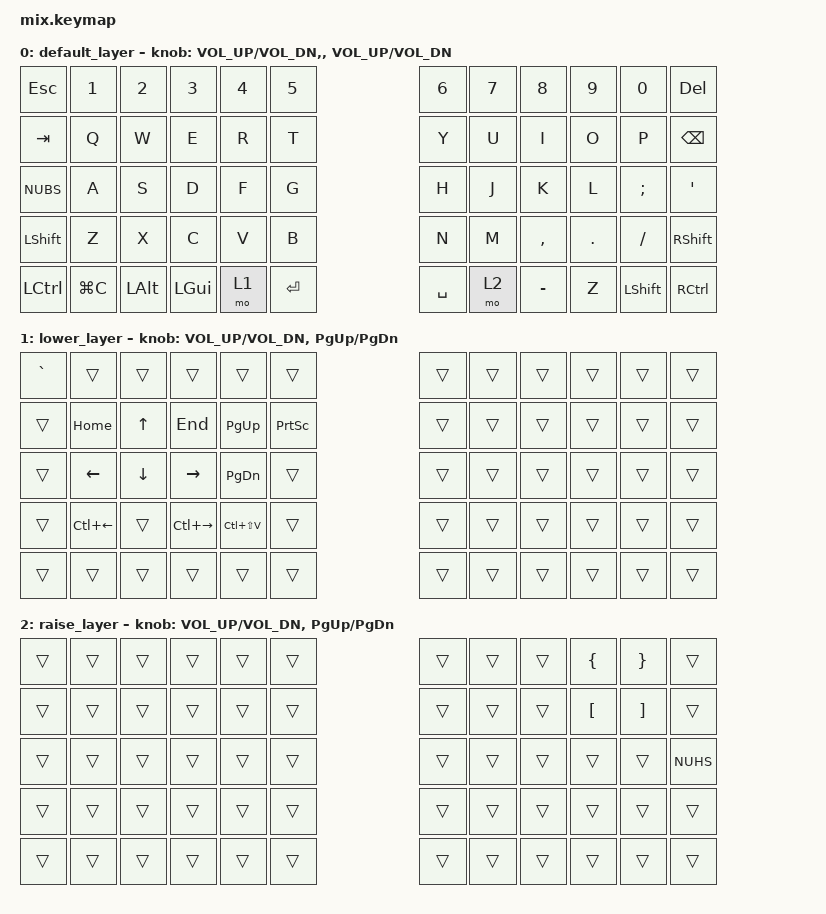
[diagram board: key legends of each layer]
/*
 * Copyright (c) 2020 The ZMK Contributors
 *
 * SPDX-License-Identifier: MIT
 */

#include <behaviors.dtsi>
#include <dt-bindings/zmk/bt.h>
#include <dt-bindings/zmk/keys.h>
#include <dt-bindings/zmk/pointing.h>

#define ZMK_POINTING_DEFAULT_SCRL_VAL 40

/ {
    combos {
        compatible = "zmk,combos";

        boot {
            bindings = <&bootloader>;
            key-positions = <0 11 54 53>;
        };
    };

    behaviors {
        encoder_sc: encoder_sc {
            compatible = "zmk,behavior-sensor-rotate-var";
            label = "ENCODER_SC";
            #sensor-binding-cells = <2>;
            bindings = <&msc>, <&msc>;

            tap-ms = <40>;
        };
    };

/ {
        keymap {
                compatible = "zmk,keymap";

                default_layer {

                        bindings = <
   &kp ESC   &kp N1 &kp N2 &kp N3 &kp N4 &kp N5                       &kp N6 &kp N7 &kp N8    &kp N9   &kp N0   &kp DEL
   &kp TAB   &kp Q  &kp W  &kp E  &kp R  &kp T                        &kp Y  &kp U  &kp I     &kp O    &kp P    &kp BSPC
   &kp NUBS  &kp A  &kp S  &kp D  &kp F  &kp G                        &kp H  &kp J  &kp K     &kp L    &kp SEMI &kp SQT
   &kp LSHFT &kp Z  &kp X  &kp C  &kp V  &kp B                        &kp N  &kp M  &kp COMMA &kp DOT  &kp FSLH &kp RSHFT
   &kp LCTRL &kp LG(C) &kp LALT     &kp LGUI &mo 1 &kp RET       &kp SPACE  &mo 2 &kp MINUS     &kp Z  &kp LSHFT &kp RCTRL
                        >;
                        sensor-bindings = 
                                <&inc_dec_kp C_VOL_UP C_VOL_DN,
                                 &inc_dec_kp C_VOL_UP C_VOL_DN>;
                };
                
                lower_layer {

                        bindings = <
   &kp GRAVE &trans       &trans   &trans        &trans        &trans                       &trans &trans &trans &trans &trans &trans
   &trans    &kp HOME     &kp UP   &kp END       &kp PG_UP     &kp PSCRN                    &trans &trans &trans &trans &trans &trans
   &trans    &kp LEFT     &kp DOWN &kp RIGHT     &kp PG_DN     &trans                       &trans &trans &trans &trans &trans &trans
   &trans    &kp LC(LEFT) &trans   &kp LC(RIGHT) &kp LC(LS(V)) &trans                       &trans &trans &trans &trans &trans &trans
   &trans &trans &trans         &trans &trans &trans                                  &trans &trans &trans &trans &trans &trans
                        >;
                        sensor-bindings = <&inc_dec_kp C_VOL_UP C_VOL_DN &inc_dec_kp PG_UP PG_DN>;
                };

                raise_layer {

                       bindings = <
   &trans &trans &trans &trans &trans &trans                       &trans &trans &trans &kp LBRC &kp RBRC &trans
   &trans &trans &trans &trans &trans &trans                       &trans &trans &trans &kp LBKT &kp RBKT &trans
   &trans &trans &trans &trans &trans &trans                       &trans &trans &trans &trans &trans &kp NUHS
   &trans &trans &trans &trans &trans &trans                       &trans &trans &trans &trans &trans &trans
   &trans &trans &trans &trans &trans &trans                       &trans &trans &trans &trans &trans &trans
                        >;
                        sensor-bindings = <&inc_dec_kp C_VOL_UP C_VOL_DN &inc_dec_kp PG_UP PG_DN>;
                };
        };
};
